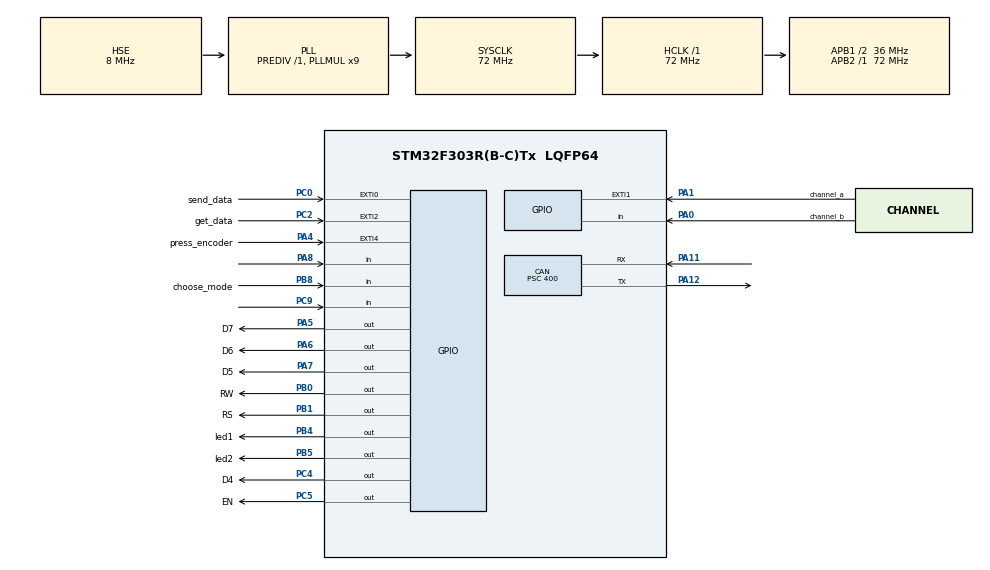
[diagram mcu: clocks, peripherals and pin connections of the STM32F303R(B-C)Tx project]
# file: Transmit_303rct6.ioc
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CAN.BS1=CAN_BS1_12TQ
CAN.BS2=CAN_BS2_5TQ
CAN.CalculateTimeQuantum=11111.111111111111
CAN.Prescaler=400
Mcu.Family=STM32F3
Mcu.Name=STM32F303R(B-C)Tx
Mcu.Package=LQFP64
NVIC.EXTI0_IRQn=true\:0\:0\:false\:false\:true\:true
NVIC.EXTI1_IRQn=true\:0\:0\:false\:false\:true\:true
NVIC.EXTI2_TSC_IRQn=true\:0\:0\:false\:false\:true\:true
NVIC.EXTI4_IRQn=true\:0\:0\:false\:false\:true\:true
NVIC.PriorityGroup=NVIC_PRIORITYGROUP_4
NVIC.TIM2_IRQn=true\:0\:0\:false\:false\:true\:true
NVIC.USB_LP_CAN_RX0_IRQn=true\:0\:0\:false\:false\:true\:true
PA0.GPIO_Label=channel_b
PA0.Signal=GPIO_Input
PA1.GPIO_Label=channel_a
PA1.GPIO_ModeDefaultEXTI=GPIO_MODE_IT_FALLING
PA1.Signal=GPXTI1
PA11.Mode=Master
PA11.Signal=CAN_RX
PA12.Mode=Master
PA12.Signal=CAN_TX
PA13.Mode=Serial_Wire
PA13.Signal=SYS_JTMS-SWDIO
PA14.Mode=Serial_Wire
PA14.Signal=SYS_JTCK-SWCLK
PA4.GPIO_Label=press_encoder
PA4.GPIO_PuPd=GPIO_PULLDOWN
PA4.Signal=GPXTI4
PA5.GPIO_Label=D7
PA5.Signal=GPIO_Output
PA6.GPIO_Label=D6
PA6.Signal=GPIO_Output
PA7.GPIO_Label=D5
PA7.Signal=GPIO_Output
PA8.GPIO_PuPd=GPIO_PULLUP
PA8.Signal=GPIO_Input
PB0.GPIO_Label=RW
PB0.Signal=GPIO_Output
PB1.GPIO_Label=RS
PB1.Signal=GPIO_Output
PB4.GPIO_Label=led1
PB4.GPIO_ModeDefaultOutputPP=GPIO_MODE_OUTPUT_PP
PB4.GPIO_PuPd=GPIO_NOPULL
PB4.GPIO_Speed=GPIO_SPEED_FREQ_LOW
PB4.PinState=GPIO_PIN_SET
PB4.Signal=GPIO_Output
PB5.GPIO_Label=led2
PB5.GPIO_ModeDefaultOutputPP=GPIO_MODE_OUTPUT_PP
PB5.GPIO_PuPd=GPIO_NOPULL
PB5.GPIO_Speed=GPIO_SPEED_FREQ_LOW
PB5.PinState=GPIO_PIN_SET
PB5.Signal=GPIO_Output
PB8.GPIO_Label=choose_mode
PB8.Signal=GPIO_Input
PC0.GPIO_Label=send_data
PC0.GPIO_ModeDefaultEXTI=GPIO_MODE_IT_FALLING
PC0.GPIO_PuPd=GPIO_NOPULL
PC0.Signal=GPXTI0
PC2.GPIO_Label=get_data
PC2.GPIO_ModeDefaultEXTI=GPIO_MODE_IT_FALLING
PC2.Signal=GPXTI2
PC4.GPIO_Label=D4
PC4.Signal=GPIO_Output
PC5.GPIO_Label=EN
PC5.Signal=GPIO_Output
PC9.GPIO_PuPd=GPIO_PULLUP
PC9.Signal=GPIO_Input
PF0-OSC_IN.Mode=HSE-External-Oscillator
PF0-OSC_IN.Signal=RCC_OSC_IN
PF1-OSC_OUT.Mode=HSE-External-Oscillator
PF1-OSC_OUT.Signal=RCC_OSC_OUT
ProjectManager.HeapSize=0x200
ProjectManager.StackSize=0x400
ProjectManager.TargetToolchain=MDK-ARM V5
RCC.AHBFreq_Value=72000000
RCC.APB1CLKDivider=RCC_HCLK_DIV2
RCC.APB1Freq_Value=36000000
RCC.APB1TimFreq_Value=72000000
RCC.APB2Freq_Value=72000000
RCC.APB2TimFreq_Value=72000000
RCC.CortexFreq_Value=72000000
RCC.HCLKFreq_Value=72000000
RCC.HSE_VALUE=8000000
RCC.HSI_VALUE=8000000
RCC.LSE_VALUE=32768
RCC.PLLMUL=RCC_PLL_MUL9
RCC.PLLSourceVirtual=RCC_PLLSOURCE_HSE
RCC.SYSCLKFreq_VALUE=72000000
RCC.SYSCLKSourceVirtual=RCC_SYSCLKSOURCE_PLLCLK
RCC.USBFreq_Value=72000000
TIM2.Period=2999
TIM2.Prescaler=7199
VP_TIM2_VS_ClockSourceINT.Mode=Internal
board=Transmit_303rct6

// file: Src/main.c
/**
  ******************************************************************************
  * @file           : main.c
  * @brief          : Main program body
  ******************************************************************************
  ** This notice applies to any and all portions of this file
  * that are not between comment pairs USER CODE BEGIN and
  * USER CODE END. Other portions of this file, whether
  * inserted by the user or by software development tools
  * are owned by their respective copyright owners.
  *
  * COPYRIGHT(c) 2019 STMicroelectronics
  *
  * Redistribution and use in source and binary forms, with or without modification,
  * are permitted provided that the following conditions are met:
  *   1. Redistributions of source code must retain the above copyright notice,
  *      this list of conditions and the following disclaimer.
  *   2. Redistributions in binary form must reproduce the above copyright notice,
  *      this list of conditions and the following disclaimer in the documentation
  *      and/or other materials provided with the distribution.
  *   3. Neither the name of STMicroelectronics nor the names of its contributors
  *      may be used to endorse or promote products derived from this software
  *      without specific prior written permission.
  *
  * THIS SOFTWARE IS PROVIDED BY THE COPYRIGHT HOLDERS AND CONTRIBUTORS "AS IS"
  * AND ANY EXPRESS OR IMPLIED WARRANTIES, INCLUDING, BUT NOT LIMITED TO, THE
  * IMPLIED WARRANTIES OF MERCHANTABILITY AND FITNESS FOR A PARTICULAR PURPOSE ARE
  * DISCLAIMED. IN NO EVENT SHALL THE COPYRIGHT HOLDER OR CONTRIBUTORS BE LIABLE
  * FOR ANY DIRECT, INDIRECT, INCIDENTAL, SPECIAL, EXEMPLARY, OR CONSEQUENTIAL
  * DAMAGES (INCLUDING, BUT NOT LIMITED TO, PROCUREMENT OF SUBSTITUTE GOODS OR
  * SERVICES; LOSS OF USE, DATA, OR PROFITS; OR BUSINESS INTERRUPTION) HOWEVER
  * CAUSED AND ON ANY THEORY OF LIABILITY, WHETHER IN CONTRACT, STRICT LIABILITY,
  * OR TORT (INCLUDING NEGLIGENCE OR OTHERWISE) ARISING IN ANY WAY OUT OF THE USE
  * OF THIS SOFTWARE, EVEN IF ADVISED OF THE POSSIBILITY OF SUCH DAMAGE.
  *
  ******************************************************************************
  */
#include "main.h"
#include "stm32f3xx_hal.h"

/* USER CODE BEGIN Includes */
#include "variable.h"
#include "lcd.h"

/* USER CODE END Includes */

CAN_HandleTypeDef hcan;

TIM_HandleTypeDef htim2;

/* USER CODE BEGIN PV */
/* Private variables ---------------------------------------------------------*/

Lcd_PortType ports[] = {D4_GPIO_Port, D5_GPIO_Port, D6_GPIO_Port, D7_GPIO_Port};
Lcd_PinType pins[] = {D4_Pin, D5_Pin, D6_Pin, D7_Pin};
Lcd_HandleTypeDef lcd;

volatile uint8_t can_rx_int1 = 0;
volatile uint8_t can_rx_int2 = 0;
volatile uint8_t can_rx_int3 = 0;
volatile uint8_t can_rx_int4 = 0;

/* USER CODE END PV */

void SystemClock_Config(void);
static void MX_GPIO_Init(void);
static void MX_CAN_Init(void);
static void MX_TIM2_Init(void);

/* USER CODE BEGIN PFP */
/* Private function prototypes -----------------------------------------------*/

/* USER CODE END PFP */

/* USER CODE BEGIN 0 */

void CAN_FilterConfig()
{
	sFilterCongif.BankNumber = 14;
	sFilterCongif.FilterActivation = ENABLE;
	sFilterCongif.FilterFIFOAssignment = CAN_FILTER_FIFO0;
	sFilterCongif.FilterIdHigh = 0;
	sFilterCongif.FilterIdLow = 0;
	sFilterCongif.FilterMaskIdHigh = 0;
	sFilterCongif.FilterMaskIdLow = 0;
	sFilterCongif.FilterMode = CAN_FILTERMODE_IDMASK;
	sFilterCongif.FilterNumber = 0;
	sFilterCongif.FilterScale = CAN_FILTERSCALE_32BIT;
	if(HAL_CAN_ConfigFilter(&hcan,&sFilterCongif) != HAL_OK)
	{
		Error_Handler();
	}
}

void Lcd_goto(uint8_t x,uint8_t y)
{
	Lcd_cursor(&lcd,x,y);
}
void Lcd_write_int(int i)
{
	Lcd_int(&lcd,i);
}

void Lcd_write_string(char * string)
{
	Lcd_string(&lcd,string);
}

void Blink_value()
{
	if (timer_int)
		Lcd_write_int( rotary_value);
  else
		Lcd_write_string(" ");
}

void lcd_form_init(void)
{
  Lcd_goto(1, 1);
  Lcd_write_string( "---CONTROLLER BOX---");
  Lcd_goto( 2, 2);
  Lcd_write_string( "Pattern:");
}
void lcd_show_pattern_a(void)
{
  Lcd_goto(2,12);
  Lcd_write_string(" n1=");
	Lcd_write_int(n1_chuc_pa);
	Lcd_write_int(n1_donvi_pa);

  Lcd_goto(3,1);
  Lcd_write_string(" n2=");
	Lcd_write_int(n2_chuc_pa);
	Lcd_write_int(n2_donvi_pa);

	Lcd_goto(3,12);
	Lcd_write_string(" B =");
	Lcd_write_int(B_nghin);
	Lcd_write_int(B_tram);
	Lcd_write_int(B_chuc);
	Lcd_write_int(B_donvi);

  Lcd_goto(4,1);
  Lcd_write_string(" C =");
	Lcd_write_int(C_nghin);
	Lcd_write_int(C_tram);
	Lcd_write_int(C_chuc);
	Lcd_write_int(C_donvi);

	Lcd_goto(4,12);
	Lcd_write_string(" D =");
	Lcd_write_int(D_nghin);
	Lcd_write_int(D_tram);
	Lcd_write_int(D_chuc);
	Lcd_write_int(D_donvi);
}
void lcd_show_form1_pattern_b(void)
{
  Lcd_goto(2,12);
	Lcd_write_string(" n1=");
	Lcd_write_int(n1_chuc_pb);
	Lcd_write_int(n1_donvi_pb);

	Lcd_goto(3,1);
	Lcd_write_string(" n2=");
	Lcd_write_int(n2_chuc_pb);
	Lcd_write_int(n2_donvi_pb);
	Lcd_write_string("  ");

	Lcd_goto(3,12);
	Lcd_write_string(" B1=");
	Lcd_write_int(B1_nghin);
	Lcd_write_int(B1_tram);
	Lcd_write_int(B1_chuc);
	Lcd_write_int(B1_donvi);
	Lcd_write_string(" ");

  Lcd_goto(4,1);
  Lcd_write_string(" C1=");
	Lcd_write_int(C1_nghin);
	Lcd_write_int(C1_tram);
	Lcd_write_int(C1_chuc);
	Lcd_write_int(C1_donvi);

	Lcd_goto(4,12);
	Lcd_write_string(" B2=");
	Lcd_write_int(B2_nghin);
	Lcd_write_int(B2_tram);
	Lcd_write_int(B2_chuc);
	Lcd_write_int(B2_donvi);
}
void lcd_show_form2_pattern_b(void)
{
  Lcd_goto(2,12);
  Lcd_write_string("      ");

  Lcd_goto(3,1);
	Lcd_write_string(" D1=");
	Lcd_write_int(D1_nghin);
	Lcd_write_int(D1_tram);
	Lcd_write_int(D1_chuc);
	Lcd_write_int(D1_donvi);

	Lcd_goto(3,13);
	Lcd_write_string("E =");
	Lcd_write_int(E_chucnghin);
	Lcd_write_int(E_nghin);
	Lcd_write_int(E_tram);
	Lcd_write_int(E_chuc);
	Lcd_write_int(E_donvi);

	Lcd_goto(4,1);
	Lcd_write_string(" D2=");
	Lcd_write_int(D2_nghin);
	Lcd_write_int(D2_tram);
	Lcd_write_int(D2_chuc);
	Lcd_write_int(D2_donvi);

	Lcd_goto(4,12);
	Lcd_write_string(" C2=");
	Lcd_write_int(C2_nghin);
	Lcd_write_int(C2_tram);
	Lcd_write_int(C2_chuc);
	Lcd_write_int(C2_donvi);
}

void enable_send()
{
	__HAL_GPIO_EXTI_CLEAR_IT(send_data_Pin);
	HAL_NVIC_EnableIRQ(send_data_EXTI_IRQn);
}
void disable_send()
{
	HAL_NVIC_DisableIRQ(send_data_EXTI_IRQn);
}

void RxIntEnable(CAN_HandleTypeDef *CanHandle)
{
	if(CanHandle->State == HAL_CAN_STATE_BUSY_TX)
	  CanHandle->State = HAL_CAN_STATE_BUSY_TX_RX0;
	else
	{
	  CanHandle->State = HAL_CAN_STATE_BUSY_RX0;

		/* Set CAN error code to none */
		CanHandle->ErrorCode = HAL_CAN_ERROR_NONE;

		/* Enable Error warning Interrupt */
		__HAL_CAN_ENABLE_IT(CanHandle, CAN_IT_EWG);

		/* Enable Error passive Interrupt */
		__HAL_CAN_ENABLE_IT(CanHandle, CAN_IT_EPV);

		/* Enable Bus-off Interrupt */
		__HAL_CAN_ENABLE_IT(CanHandle, CAN_IT_BOF);

		/* Enable Last error code Interrupt */
		__HAL_CAN_ENABLE_IT(CanHandle, CAN_IT_LEC);

		/* Enable Error Interrupt */
		__HAL_CAN_ENABLE_IT(CanHandle, CAN_IT_ERR);
	}

	// Enable FIFO 0 message pending Interrupt
	__HAL_CAN_ENABLE_IT(CanHandle, CAN_IT_FMP0);
}

void HAL_CAN_RxCpltCallback(CAN_HandleTypeDef* CanHandle)
{
	point_lcd_value = 255;
	if (CanHandle->pRxMsg->StdId == 0x201)
  {
    can_rx_int1 = 1;
    n1_pa = CanHandle->pRxMsg->Data[0];
    n2_pa = CanHandle->pRxMsg->Data[1];
    B_H = CanHandle->pRxMsg->Data[2];
    B_L = CanHandle->pRxMsg->Data[3];
    C_H = CanHandle->pRxMsg->Data[4];
    C_L = CanHandle->pRxMsg->Data[5];
    D_H = CanHandle->pRxMsg->Data[6];
    D_L = CanHandle->pRxMsg->Data[7];
  }
  if (CanHandle->pRxMsg->StdId == 0x202)
  {
    can_rx_int2 = 1;
		n1_pb = CanHandle->pRxMsg->Data[0];
    n2_pb = CanHandle->pRxMsg->Data[1];
    B1_H = CanHandle->pRxMsg->Data[2];
    B1_L = CanHandle->pRxMsg->Data[3];
    C1_H = CanHandle->pRxMsg->Data[4];
    C1_L = CanHandle->pRxMsg->Data[5];
    B2_H = CanHandle->pRxMsg->Data[6];
    B2_L = CanHandle->pRxMsg->Data[7];
  }
  if (CanHandle->pRxMsg->StdId == 0x203)
  {
    can_rx_int3 = 1;
    D1_H = CanHandle->pRxMsg->Data[0];
    D1_L = CanHandle->pRxMsg->Data[1];
    E_HH = CanHandle->pRxMsg->Data[2];
    E_H = CanHandle->pRxMsg->Data[3];
    E_L = CanHandle->pRxMsg->Data[4];
  }
  if (CanHandle->pRxMsg->StdId == 0x204)
  {
    can_rx_int4 = 1;
    D2_H = CanHandle->pRxMsg->Data[0];
    D2_L = CanHandle->pRxMsg->Data[1];
    C2_H = CanHandle->pRxMsg->Data[2];
    C2_L = CanHandle->pRxMsg->Data[3];
  }
	RxIntEnable(&hcan);
}

//-----------------------------------------------------------------------------------------------External interrupt
void HAL_GPIO_EXTI_Callback(uint16_t GPIO_Pin)
{
	if(GPIO_Pin == press_encoder_Pin)
	{
		static uint8_t start = 0;
		if(start == 0)
		{
			if (HAL_GPIO_ReadPin(choose_mode_GPIO_Port, choose_mode_Pin) == GPIO_PIN_SET)
				flag_choose_mode = pattern_a;
			else
				flag_choose_mode = pattern_b;
		}
		start = 1;

		point_lcd_value++;

		if(flag_choose_mode == pattern_a)
		{
			if(point_lcd_value == n1_position) 				{D_donvi = rotary_value;enable_send();}
			if(point_lcd_value == n1_chuc_position)		disable_send();
			if(point_lcd_value == n1_donvi_position) 	n1_chuc_pa = rotary_value;
			if(point_lcd_value == n2_position) 				{n1_donvi_pa = rotary_value;enable_send();}
			if(point_lcd_value == n2_chuc_position)		disable_send();
			if(point_lcd_value == n2_donvi_position) 	n2_chuc_pa = rotary_value;
			if(point_lcd_value == B_position) 				{n2_donvi_pa = rotary_value;enable_send();}
			if(point_lcd_value == B_nghin_position)		disable_send();
			if(point_lcd_value == B_tram_position) 		B_nghin = rotary_value;
			if(point_lcd_value == B_chuc_position) 		B_tram = rotary_value;
			if(point_lcd_value == B_donvi_position) 	B_chuc = rotary_value;
			if(point_lcd_value == C_position) 				{B_donvi = rotary_value;enable_send();}
			if(point_lcd_value == C_nghin_position)		disable_send();
			if(point_lcd_value == C_tram_position) 		C_nghin = rotary_value;
			if(point_lcd_value == C_chuc_position) 		C_tram = rotary_value;
			if(point_lcd_value == C_donvi_position) 	C_chuc = rotary_value;
			if(point_lcd_value == D_position) 				{C_donvi = rotary_value;enable_send();}
			if(point_lcd_value == D_nghin_position)		disable_send();
			if(point_lcd_value == D_tram_position) 		D_nghin = rotary_value;
			if(point_lcd_value == D_chuc_position) 		D_tram = rotary_value;
			if(point_lcd_value == D_donvi_position) 	D_chuc = rotary_value;
			if(point_lcd_value == Finish_input_pattern_a_position)
			{
				point_lcd_value = n1_position;
				D_donvi = rotary_value;
				enable_send();
			}
			rotary_value = 0;
		}

		if(flag_choose_mode == pattern_b)
		{
			if(point_lcd_value == n1_position) 				{C2_donvi = rotary_value;enable_send();}
			if(point_lcd_value == n1_chuc_position)		disable_send();
			if(point_lcd_value == n1_donvi_position) 	n1_chuc_pb = rotary_value;
			if(point_lcd_value == n2_position) 				{n1_donvi_pb = rotary_value;enable_send();}
			if(point_lcd_value == n2_chuc_position) 	disable_send();
			if(point_lcd_value == n2_donvi_position) 	n2_chuc_pb = rotary_value;
			if(point_lcd_value == B1_position) 				{n2_donvi_pb = rotary_value;enable_send();}
			if(point_lcd_value == B1_nghin_position)	disable_send();
			if(point_lcd_value == B1_tram_position) 	B1_nghin = rotary_value;
			if(point_lcd_value == B1_chuc_position) 	B1_tram = rotary_value;
			if(point_lcd_value == B1_donvi_position) 	B1_chuc = rotary_value;
			if(point_lcd_value == C1_position) 				{B1_donvi = rotary_value;enable_send();}
			if(point_lcd_value == C1_nghin_position)	disable_send();
			if(point_lcd_value == C1_tram_position) 	C1_nghin = rotary_value;
			if(point_lcd_value == C1_chuc_position) 	C1_tram = rotary_value;
			if(point_lcd_value == C1_donvi_position) 	C1_chuc = rotary_value;
			if(point_lcd_value == B2_position) 				{C1_donvi = rotary_value;enable_send();}
			if(point_lcd_value == B2_nghin_position)	disable_send();
			if(point_lcd_value == B2_tram_position) 	B2_nghin = rotary_value;
			if(point_lcd_value == B2_chuc_position) 	B2_tram = rotary_value;
			if(point_lcd_value == B2_donvi_position) 	B2_chuc = rotary_value;
			if(point_lcd_value == D1_position)				{B2_donvi = rotary_value;enable_send();}
			if(point_lcd_value == D1_tram_position)		D1_nghin = rotary_value;
			if(point_lcd_value == D1_chuc_position)		D1_tram = rotary_value;
			if(point_lcd_value == D1_donvi_position)	D1_chuc = rotary_value;
			if(point_lcd_value == E_position)					{D1_donvi = rotary_value;enable_send();}
			if(point_lcd_value == E_chucnghin_position)	disable_send();
			if(point_lcd_value == E_nghin_position)		E_chucnghin = rotary_value;
			if(point_lcd_value == E_tram_position)		E_nghin = rotary_value;
			if(point_lcd_value == E_chuc_position)		E_tram = rotary_value;
			if(point_lcd_value == E_donvi_position)		E_chuc = rotary_value;
			if(point_lcd_value == D2_position)				{E_donvi = rotary_value;enable_send();}
			if(point_lcd_value == D2_nghin_position)	disable_send();
			if(point_lcd_value == D2_tram_position)		D2_nghin = rotary_value;
			if(point_lcd_value == D2_chuc_position)		D2_tram = rotary_value;
			if(point_lcd_value == D2_donvi_position)	D2_chuc = rotary_value;
			if(point_lcd_value == C2_position)				{D2_donvi = rotary_value;enable_send();}
			if(point_lcd_value == C2_nghin_position)	disable_send();
			if(point_lcd_value == C2_tram_position)		C2_nghin = rotary_value;
			if(point_lcd_value == C2_chuc_position)		C2_tram = rotary_value;
			if(point_lcd_value == C2_donvi_position)	C2_chuc = rotary_value;
			if(point_lcd_value == Finish_input_pattern_b_position)
			{
				enable_send();
				point_lcd_value = n1_position;
				C2_donvi = rotary_value;
			}
			rotary_value = 0;
		}
	}

  if (GPIO_Pin == channel_a_Pin)
  {
		if(flag_choose_mode == pattern_a)
		{
			if(point_lcd_value == n1_position ||	point_lcd_value == n2_position || point_lcd_value ==  B_position || point_lcd_value == C_position || point_lcd_value == D_position)
			{
				if (HAL_GPIO_ReadPin(channel_b_GPIO_Port, channel_b_Pin) == 1)	designator_position++;
				else	designator_position--;

				if(designator_position == 0)	designator_position = 5;
				if(designator_position == 6) 	designator_position = 1;

				if(designator_position == 1)	point_lcd_value = n1_position;
				if(designator_position == 2)	point_lcd_value = n2_position;
				if(designator_position == 3)	point_lcd_value = B_position;
				if(designator_position == 4)	point_lcd_value = C_position;
				if(designator_position == 5)	point_lcd_value = D_position;
			}
			else
			{
				if(point_lcd_value != not_yet_press_encoder_position)
				{
					if (HAL_GPIO_ReadPin(channel_b_GPIO_Port, channel_b_Pin) == 1)	rotary_value++;
					else	rotary_value--;

					if (rotary_value == 255)	rotary_value = 9;
					if (rotary_value == 10)		rotary_value = 0;
				}
			}
		}

		if(flag_choose_mode == pattern_b)
		{
			if(point_lcd_value == n1_position ||	point_lcd_value == n2_position || point_lcd_value ==  B1_position || point_lcd_value == C1_position || point_lcd_value == B2_position ||
			point_lcd_value == D1_position || point_lcd_value == E_position || point_lcd_value == D2_position || point_lcd_value == C2_position)
			{
				if (HAL_GPIO_ReadPin(channel_b_GPIO_Port, channel_b_Pin) == 1)
				{
					designator_position++;
					if(designator_position == 6)	flag_B2_to_D1 = 1;
					if(designator_position == 10) flag_C2_to_n1 = 1;
				}
				else
				{
					designator_position--;
					if(designator_position == 5) flag_D1_to_B2 = 1;
					if(designator_position == 0) flag_n1_to_C2 = 1;
				}

				if(designator_position == 0)	designator_position = 9;
				if(designator_position == 10) designator_position = 1;

				if(designator_position == 1)	point_lcd_value = n1_position;
				if(designator_position == 2)	point_lcd_value = n2_position;
				if(designator_position == 3)	point_lcd_value = B1_position;
				if(designator_position == 4)	point_lcd_value = C1_position;
				if(designator_position == 5)	point_lcd_value = B2_position;

				if(designator_position == 6)	point_lcd_value = D1_position;
				if(designator_position == 7)	point_lcd_value = E_position;
				if(designator_position == 8)	point_lcd_value = D2_position;
				if(designator_position == 9)	point_lcd_value = C2_position;
			}
			else
			{
				if(point_lcd_value != not_yet_press_encoder_position)
				{
					if (HAL_GPIO_ReadPin(channel_b_GPIO_Port, channel_b_Pin) == 1)	rotary_value++;
					else	rotary_value--;

					if (rotary_value == 255)	rotary_value = 9;
					if (rotary_value == 10)		rotary_value = 0;
				}
			}
		}
  }

	if (GPIO_Pin == send_data_Pin)
  {
		can_tx_int = 1;
  }

	if(GPIO_Pin == get_data_Pin)
	{
		flag_get_data = 1;
	}
}

/* USER CODE END 0 */

int main(void)
{

  /* MCU Configuration----------------------------------------------------------*/

  /* Reset of all peripherals, Initializes the Flash interface and the Systick. */
  HAL_Init();

  /* Configure the system clock */
  SystemClock_Config();

  /* Initialize all configured peripherals */
  MX_GPIO_Init();
  MX_CAN_Init();
  MX_TIM2_Init();
  /* USER CODE BEGIN 2 */

  HAL_TIM_Base_Start_IT(&htim2);

  hcan.pTxMsg = &CanTx;
  CanTx.RTR = CAN_RTR_DATA;
  CanTx.IDE = CAN_ID_STD;

	hcan.pRxMsg = &CanRx;
	CAN_FilterConfig();
	HAL_CAN_Receive_IT(&hcan,CAN_FIFO0);

  lcd = Lcd_create(ports, pins, RS_GPIO_Port, RS_Pin, EN_GPIO_Port, EN_Pin, LCD_4_BIT_MODE);
  Lcd_clear(&lcd);
  lcd_form_init();

	HAL_NVIC_DisableIRQ(send_data_EXTI_IRQn);

  /* USER CODE END 2 */

  /* Infinite loop */
  /* USER CODE BEGIN WHILE */
  while (1)
  {
		//Khi chua an gi
		if (point_lcd_value == not_yet_press_encoder_position)
    {
      if(HAL_GPIO_ReadPin(choose_mode_GPIO_Port, choose_mode_Pin))
      {
				lcd_show_pattern_a();
				Lcd_goto(2, 10);
				Lcd_write_string("A");
      }
      else
      {
        lcd_show_form1_pattern_b();
				Lcd_goto(2,10);
				Lcd_write_string("B");
      }
    }

		//choose pattern
		if(point_lcd_value == n1_position)
		{
			designator_position = 1;

			Lcd_cursor(&lcd, 2, 10);
      if (flag_choose_mode == pattern_a)
      {
        Lcd_write_string("A");
      }
      else
      {
        Lcd_write_string("B");
      }
		}

		//-----------------------------------------------------------------------------------------pattern a
		if(point_lcd_value != not_yet_press_encoder_position && flag_choose_mode == pattern_a)
		{

			//---------------------------------------------------n1_position
			if(point_lcd_value == n1_position)
			{
				designator_position = 1;

				//write D_donvi
				Lcd_goto_D_donvi;
				Lcd_write_int(D_donvi);

				//delete con tro D
				Lcd_gotoContro_D;
				Lcd_write_string(" ");

				//delete con tro n2
				Lcd_gotoContro_n2;
				Lcd_write_string(" ");

				//dua con tro den n1
				Lcd_gotoContro_n1;
				Lcd_write_string(">");
			}
			//---------------------------------------------------n1_chuc_position
			if(point_lcd_value == n1_chuc_position)
			{
				//blink n1_chuc
				rotary_value = n1_chuc_pa;
				while(point_lcd_value == n1_chuc_position)
				{
					Lcd_goto_n1_chuc;
					Blink_value();
				}
			}
			//---------------------------------------------------n1_donvi_position
			if(point_lcd_value == n1_donvi_position)
			{
				//write n1_chuc
				Lcd_goto_n1_chuc;
				Lcd_write_int(n1_chuc_pa);

				//blink n1_donvi
				rotary_value = n1_donvi_pa;
				while(point_lcd_value == n1_donvi_position)
				{
					Lcd_goto_n1_donvi;
					Blink_value();
				}
			}
			//---------------------------------------------------n2_position
			if(point_lcd_value == n2_position)
			{
				designator_position = 2;

				//write n1_donvi
				Lcd_goto_n1_donvi;
				Lcd_write_int(n1_donvi_pa);

				//delete con tro n1
				Lcd_gotoContro_n1;
				Lcd_write_string(" ");

				//delete con tro B
				Lcd_gotoContro_B;
				Lcd_write_string(" ");

				//dua con tro den n2
				Lcd_gotoContro_n2;
				Lcd_write_string(">");
			}
			//---------------------------------------------------n2_chuc_position
			if(point_lcd_value == n2_chuc_position)
			{
				//blink n2_chuc
				rotary_value = n2_chuc_pa;
				while(point_lcd_value == n2_chuc_position)
				{
					Lcd_goto_n2_chuc;
					Blink_value();
				}
			}
			//---------------------------------------------------n2_donvi_position
			if(point_lcd_value == n2_donvi_position)
			{
				//write n2_chuc
				Lcd_goto_n2_chuc;
				Lcd_write_int(n2_chuc_pa);

				//blinkn2_donvi
				rotary_value = n2_donvi_pa;
				while(point_lcd_value == n2_donvi_position)
				{
					Lcd_goto_n2_donvi;
					Blink_value();
				}
			}
			//---------------------------------------------------B_position
			if(point_lcd_value == B_position)
			{
				designator_position = 3;

				//write n2_donvi
				Lcd_goto_n2_donvi;
				Lcd_write_int(n2_donvi_pa);

				//delete con tro n2
				Lcd_gotoContro_n2;
				Lcd_write_string(" ");

				//delete con tro C
				Lcd_gotoContro_C;
				Lcd_write_string(" ");

				//dua con tro den B
				Lcd_gotoContro_B;
				Lcd_write_string(">");
			}
			//---------------------------------------------------B_nghin_position
			if(point_lcd_value == B_nghin_position)
			{
				//blink B_nghin
				rotary_value = B_nghin;
				while(point_lcd_value == B_nghin_position)
				{
					Lcd_goto_B_nghin;
					Blink_value();
				}
			}
			//---------------------------------------------------B_tram_position
			if(point_lcd_value == B_tram_position)
			{
				//write B_nghin
				Lcd_goto_B_nghin;
				Lcd_write_int(B_nghin);

				//blink B_tram
				rotary_value = B_tram;
				while(point_lcd_value == B_tram_position)
				{
					Lcd_goto_B_tram;
					Blink_value();
				}
			}
			//---------------------------------------------------B_chuc_position
			if(point_lcd_value == B_chuc_position)
			{
				//write B_tram
				Lcd_goto_B_tram;
				Lcd_write_int(B_tram);

				//blink B_chuc
				rotary_value = B_chuc;
				while(point_lcd_value == B_chuc_position)
				{
					Lcd_goto_B_chuc;
					Blink_value();
				}
			}
			//---------------------------------------------------B_donvi_position
			if(point_lcd_value == B_donvi_position)
			{
				//write B_chuc
				Lcd_goto_B_chuc;
				Lcd_write_int(B_chuc);

				//blink B_donvi
				rotary_value = B_donvi;
				while(point_lcd_value == B_donvi_position)
				{
					Lcd_goto_B_donvi;
					Blink_value();
				}
			}
			//---------------------------------------------------C_position
			if(point_lcd_value == C_position)
			{
				designator_position = 4;

				//write B_donvi
				Lcd_goto_B_donvi;
				Lcd_write_int(B_donvi);

				//delete con tro B
				Lcd_gotoContro_B;
				Lcd_write_string(" ");

				//delete con tro D
				Lcd_gotoContro_D;
				Lcd_write_string(" ");

				//dua con tro den C
				Lcd_gotoContro_C;
				Lcd_write_string(">");
			}
			//---------------------------------------------------C_nghin_position
			if(point_lcd_value == C_nghin_position)
			{
				//blink C_nghin
				rotary_value = C_nghin;
				while(point_lcd_value == C_nghin_position)
				{
					Lcd_goto_C_nghin;
					Blink_value();
				}
			}
			//---------------------------------------------------C_tram_position
			if(point_lcd_value == C_tram_position)
			{
				//write C_nghin
				Lcd_goto_C_nghin;
				Lcd_write_int(C_nghin);

				//blink C_tram
				rotary_value = C_tram;
				while(point_lcd_value == C_tram_position)
				{
					Lcd_goto_C_tram;
					Blink_value();
				}
			}
			//---------------------------------------------------C_chuc_position
			if(point_lcd_value == C_chuc_position)
			{
				//write C_tram
				Lcd_goto_C_tram;
				Lcd_write_int(C_tram);

				//blink C_chuc
				rotary_value = C_chuc;
				while(point_lcd_value == C_chuc_position)
				{
					Lcd_goto_C_chuc;
					Blink_value();
				}
			}
			//---------------------------------------------------C_donvi_position
			if(point_lcd_value == C_donvi_position)
			{
				//write C_chuc
				Lcd_goto_C_chuc;
				Lcd_write_int(C_chuc);

				//blink C_donvi
				rotary_value = C_donvi;
				while(point_lcd_value == C_donvi_position)
				{
					Lcd_goto_C_donvi;
					Blink_value();
				}
			}
			//---------------------------------------------------D_position
			if(point_lcd_value == D_position)
			{
				designator_position = 5;

				//write C_donvi
				Lcd_goto_C_donvi;
				Lcd_write_int(C_donvi);

				//delete contro C
				Lcd_gotoContro_C;
				Lcd_write_string(" ");

				//delete con tro n1
				Lcd_gotoContro_n1;
				Lcd_write_string(" ");

				//dua con tro den D
				Lcd_gotoContro_D;
				Lcd_write_string(">");
			}
			//---------------------------------------------------D_nghin_position
			if(point_lcd_value == D_nghin_position)
			{
				//blink D_nghin
				rotary_value = D_nghin;
				while(point_lcd_value == D_nghin_position)
				{
					Lcd_goto_D_nghin;
					Blink_value();
				}

			}
			//---------------------------------------------------D_tram_position
			if(point_lcd_value == D_tram_position)
			{
				//write D_nghin
				Lcd_goto_D_nghin;
				Lcd_write_int(D_nghin);

				//blink D_tram
				rotary_value = D_tram;
				while(point_lcd_value == D_tram_position)
				{
					Lcd_goto_D_tram;
					Blink_value();
				}

			}
			//---------------------------------------------------D_chuc_position
			if(point_lcd_value == D_chuc_position)
			{
				//write D_tram
				Lcd_goto_D_tram;
				Lcd_write_int(D_tram);

				//blink D_chuc
				rotary_value = D_chuc;
				while(point_lcd_value == D_chuc_position)
				{
					Lcd_goto_D_chuc;
					Blink_value();
				}

			}
			//---------------------------------------------------D_donvi_position
			if(point_lcd_value == D_donvi_position)
			{
				//write D_chuc
				Lcd_goto_D_chuc;
				Lcd_write_int(D_chuc);

				//blink D_donvi
				rotary_value = D_donvi;
				while(point_lcd_value == D_donvi_position)
				{
					Lcd_goto_D_donvi;
					Blink_value();
				}

			}
		}

		//-----------------------------------------------------------------------------------------pattern b
		if(point_lcd_value != not_yet_press_encoder_position && flag_choose_mode == pattern_b)
		{

			//---------------------------------------------------n1_position
			if(point_lcd_value == n1_position)
			{
				if(flag_C2_to_n1 == 1||flag_C2_to_n1_press == 1)
				{
					flag_C2_to_n1 = 0;
					flag_C2_to_n1_press = 0;
					lcd_show_form1_pattern_b();
				}

				//delete con tro n2
				Lcd_gotoContro_n2;
				Lcd_write_string(" ");

				//dua con tro den n1
				Lcd_gotoContro_n1;
				Lcd_write_string(">");

				designator_position = 1;
			}
			//---------------------------------------------------n1_chuc_position
			if(point_lcd_value == n1_chuc_position)
			{
				//blink n1_chuc
				rotary_value = n1_chuc_pb;
				while(point_lcd_value == n1_chuc_position)
				{
					Lcd_goto_n1_chuc;
					Blink_value();
				}

			}
			//---------------------------------------------------n1_donvi_position
			if(point_lcd_value == n1_donvi_position)
			{
				//write n1_chuc
				Lcd_goto_n1_chuc;
				Lcd_write_int(n1_chuc_pb);

				//blink n1_donvi
				rotary_value =  n1_donvi_pb;
				while(point_lcd_value == n1_donvi_position)
				{
					Lcd_goto_n1_donvi;
					Blink_value();
				}

			}
			//---------------------------------------------------n2_position
			if(point_lcd_value == n2_position)
			{
				//write n1_donvi
				Lcd_goto_n1_donvi;
				Lcd_write_int(n1_donvi_pb);

				//delete con tro n1
				Lcd_gotoContro_n1;
				Lcd_write_string(" ");

				//delete con tro B
				Lcd_gotoContro_B;
				Lcd_write_string(" ");

				//dua con tro den n2
				Lcd_gotoContro_n2;
				Lcd_write_string(">");

				designator_position = 2;
			}
			//---------------------------------------------------n2_chuc_position
			if(point_lcd_value == n2_chuc_position)
			{
				//blink n2_chuc
				rotary_value = n2_chuc_pb;
				while(point_lcd_value == n2_chuc_position)
				{
					Lcd_goto_n2_chuc;
					Blink_value();
				}

			}
			//---------------------------------------------------n2_donvi_position
			if(point_lcd_value == n2_donvi_position)
			{
				//write n2_chuc
				Lcd_goto_n2_chuc;
				Lcd_write_int(n2_chuc_pb);

				//blink n2_donvi
				rotary_value = n2_donvi_pb;
				while(point_lcd_value == n2_donvi_position)
				{
					Lcd_goto_n2_donvi;
					Blink_value();
				}

			}
			//---------------------------------------------------B1_position
			if(point_lcd_value == B1_position)
			{
				//write n2_donvi
				Lcd_goto_n2_donvi;
				Lcd_write_int(n2_donvi_pb);

				//delete con tro n2
				Lcd_gotoContro_n2;
				Lcd_write_string(" ");

				//delete con tro C1
				Lcd_gotoContro_C1;
				Lcd_write_string(" ");

				//dua con tro den B1
				Lcd_gotoContro_B1;
				Lcd_write_string(">");

				designator_position = 3;
			}
			//---------------------------------------------------B1_nghin_position
			if(point_lcd_value == B1_nghin_position)
			{
				//blink B1_nghin
				rotary_value = B1_nghin;
				while(point_lcd_value == B1_nghin_position)
				{
					Lcd_goto_B1_nghin;
					Blink_value();
				}
			}
			//---------------------------------------------------B1_tram_position
			if(point_lcd_value == B1_tram_position)
			{
				//write B1_nghin
				Lcd_goto_B1_nghin;
				Lcd_write_int(B1_nghin);

				//blink B1_tram
				rotary_value = B1_tram;
				while(point_lcd_value == B1_tram_position)
				{
					Lcd_goto_B1_tram;
					Blink_value();
				}

			}
			//---------------------------------------------------B1_chuc_position
			if(point_lcd_value == B1_chuc_position)
			{
				//write B1_tram
				Lcd_goto_B1_tram;
				Lcd_write_int(B1_tram);

				//blink B1_chuc
				rotary_value = B1_chuc;
				while(point_lcd_value == B1_chuc_position)
				{
					Lcd_goto_B1_chuc;
					Blink_value();
				}

			}
			//---------------------------------------------------B1_donvi_position
			if(point_lcd_value == B1_donvi_position)
			{
				//write B1_chuc
				Lcd_goto_B1_chuc;
				Lcd_write_int(B1_chuc);

				//blink B1_donvi
				rotary_value = B1_donvi;
				while(point_lcd_value == B1_donvi_position)
				{
					Lcd_goto_B1_donvi;
					Blink_value();
				}

			}
			//---------------------------------------------------C1_position
			if(point_lcd_value == C1_position)
			{
				//write B1_donvi
				Lcd_goto_B1_donvi;
				Lcd_write_int(B1_donvi);

				//delete con tro B1
				Lcd_gotoContro_B1;
				Lcd_write_string(" ");

				//delete con tro B2
				Lcd_gotoContro_B2;
				Lcd_write_string(" ");

				//dua con tro den C1
				Lcd_gotoContro_C1;
				Lcd_write_string(">");

				designator_position = 4;
			}
			//---------------------------------------------------C1_nghin_position
			if(point_lcd_value == C1_nghin_position)
			{
				//blink C1_nghin
				rotary_value = C1_nghin;
				while(point_lcd_value == C1_nghin_position)
				{
					Lcd_goto_C1_nghin;
					Blink_value();
				}
			}
			//---------------------------------------------------C1_tram_position
			if(point_lcd_value == C1_tram_position)
			{
				//write C1_nghin
				Lcd_goto_C1_nghin;
				Lcd_write_int(C1_nghin);

				//blink C1_tram
				rotary_value = C1_tram;
				while(point_lcd_value == C1_tram_position)
				{
					Lcd_goto_C1_tram;
					Blink_value();
				}
			}
			//---------------------------------------------------C1_chuc_position
			if(point_lcd_value == C1_chuc_position)
			{
				//write C1_tram
				Lcd_goto_C1_tram;
				Lcd_write_int(C1_tram);

				//blink C1_chuc
				rotary_value = C1_chuc;
				while(point_lcd_value == C1_chuc_position)
				{
					Lcd_goto_C1_chuc;
					Blink_value();
				}

			}
			//---------------------------------------------------C1_donvi_position
			if(point_lcd_value == C1_donvi_position)
			{
				//write C1_chuc
				Lcd_goto_C1_chuc;
				Lcd_write_int(C1_chuc);

				//blink C1_donvi
				rotary_value = C1_donvi;
				while(point_lcd_value == C1_donvi_position)
				{
					Lcd_goto_C1_donvi;
					Blink_value();
				}
			}
			//---------------------------------------------------B2_position
			if(point_lcd_value == B2_position)
			{
				if(flag_D1_to_B2 == 1)
				{
					flag_D1_to_B2 = 0;
					lcd_show_form1_pattern_b();
				}
				//write C1_donvi
				Lcd_goto_C1_donvi;
				Lcd_write_int(C1_donvi);

				//delete con tro C1
				Lcd_gotoContro_C1;
				Lcd_write_string(" ");

				//dua con tro den B2
				Lcd_gotoContro_B2;
				Lcd_write_string(">");

				designator_position = 5;
			}
			//---------------------------------------------------B2_nghin_position
			if(point_lcd_value == B2_nghin_position)
			{
				//blink B2_nghin
				rotary_value = B2_nghin;
				while(point_lcd_value == B2_nghin_position)
				{
					Lcd_goto_B2_nghin;
					Blink_value();
				}
			}
			//---------------------------------------------------B2_tram_position
			if(point_lcd_value == B2_tram_position)
			{
				//write B2_nghin
				Lcd_goto_B2_nghin;
				Lcd_write_int(B2_nghin);

				//blink B2_tram
				rotary_value = B2_tram;
				while(point_lcd_value == B2_tram_position)
				{
					Lcd_goto_B2_tram;
					Blink_value();
				}
			}
			//---------------------------------------------------B2_chuc_position
			if(point_lcd_value == B2_chuc_position)
			{
				//write B2_tram
				Lcd_goto_B2_tram;
				Lcd_write_int(B2_tram);

				//blink B2_chuc
				rotary_value = B2_chuc;
				while(point_lcd_value == B2_chuc_position)
				{
					Lcd_goto_B2_chuc;
					Blink_value();
				}
			}
			//---------------------------------------------------B2_donvi_position
			if(point_lcd_value == B2_donvi_position)
			{
				flag_B2_to_D1_press = 1;

				//write B2_chuc
				Lcd_goto_B2_chuc;
				Lcd_write_int(B2_chuc);

				//blink B2_donvi
				rotary_value = B2_donvi;
				while(point_lcd_value == B2_donvi_position)
				{
					Lcd_goto_B2_donvi;
					Blink_value();
				}
			}
			//---------------------------------------------------D1_position
			if(point_lcd_value == D1_position)
			{
				if(flag_B2_to_D1 == 1||flag_B2_to_D1_press == 1)
				{
					flag_B2_to_D1 = 0;
					flag_B2_to_D1_press = 0;
					lcd_show_form2_pattern_b();
				}

				//delete con tro E
				Lcd_gotoContro_E;
				Lcd_write_string(" ");

				//dua con tro den D1
				Lcd_gotoContro_D1;
				Lcd_write_string(">");

				designator_position = 6;
			}
			//---------------------------------------------------D1_nghin_position
			if(point_lcd_value == D1_nghin_position)
			{
				//blink D1_nghin
				rotary_value = D1_nghin;
				while(point_lcd_value == D1_nghin_position)
				{
					Lcd_goto_D1_nghin;
					Blink_value();
				}
			}
			//---------------------------------------------------D1_tram_position
			if(point_lcd_value == D1_tram_position)
			{
				//write D1_nghin
				Lcd_goto_D1_nghin;
				Lcd_write_int(D1_nghin);

				//blink D1_tram
				rotary_value = D1_tram;
				while(point_lcd_value == D1_tram_position)
				{
					Lcd_goto_D1_tram;
					Blink_value();
				}
			}
			//---------------------------------------------------D1_chuc_position
			if(point_lcd_value == D1_chuc_position)
			{
				//write D1_tram
				Lcd_goto_D1_tram;
				Lcd_write_int(D1_tram);

				//blink B2_chuc
				rotary_value = D1_chuc;
				while(point_lcd_value == D1_chuc_position)
				{
					Lcd_goto_D1_chuc;
					Blink_value();
				}
			}
			//---------------------------------------------------D1_donvi_position
			if(point_lcd_value == D1_donvi_position)
			{
				//write D1_chuc
				Lcd_goto_D1_chuc;
				Lcd_write_int(D1_chuc);

				//blink D1_donvi
				rotary_value = D1_donvi;
				while(point_lcd_value == D1_donvi_position)
				{
					Lcd_goto_D1_donvi;
					Blink_value();
				}
			}
			//---------------------------------------------------E_position
			if(point_lcd_value == E_position)
			{
				//write D1_donvi
				Lcd_goto_D1_donvi;
				Lcd_write_int(D1_donvi);

				//delete con tro D1
				Lcd_gotoContro_D1;
				Lcd_write_string(" ");

				//delete con tro D2
				Lcd_gotoContro_D2;
				Lcd_write_string(" ");

				//dua con tro den E
				Lcd_gotoContro_E;
				Lcd_write_string(">");

				designator_position = 7;
			}
			//---------------------------------------------------E_chucnghin_position
			if(point_lcd_value == E_chucnghin_position)
			{
				//blink E_chucnghin
				rotary_value = E_chucnghin;
				while(point_lcd_value == E_chucnghin_position)
				{
					Lcd_goto_E_chucnghin;
					Blink_value();
				}
			}
			//---------------------------------------------------E_nghin_position
			if(point_lcd_value == E_nghin_position)
			{
				//write E_chucnghin
				Lcd_goto_E_chucnghin;
				Lcd_write_int(E_chucnghin);

				//blink E_nghin
				rotary_value = E_nghin;
				while(point_lcd_value == E_nghin_position)
				{
					Lcd_goto_E_nghin;
					Blink_value();
				}
			}
			//---------------------------------------------------E_tram_position
			if(point_lcd_value == E_tram_position)
			{
				//write E_nghin
				Lcd_goto_E_nghin;
				Lcd_write_int(E_nghin);

				//blink E_tram
				rotary_value = E_tram;
				while(point_lcd_value == E_tram_position)
				{
					Lcd_goto_E_tram;
					Blink_value();
				}
			}
			//---------------------------------------------------E_chuc_position
			if(point_lcd_value == E_chuc_position)
			{
				//write E_tram
				Lcd_goto_E_tram;
				Lcd_write_int(E_tram);

				//blink E_chuc
				rotary_value = E_chuc;
				while(point_lcd_value == E_chuc_position)
				{
					Lcd_goto_E_chuc;
					Blink_value();
				}
			}
			//---------------------------------------------------E_donvi_position
			if(point_lcd_value == E_donvi_position)
			{
				//write E_chuc
				Lcd_goto_E_chuc;
				Lcd_write_int(E_chuc);

				//blink E_donvi
				rotary_value = E_donvi;
				while(point_lcd_value == E_donvi_position)
				{
					Lcd_goto_E_donvi;
					Blink_value();
				}

			}
			//---------------------------------------------------D2_position
			if(point_lcd_value == D2_position)
			{
				//write E_donvi
				Lcd_goto_E_donvi;
				Lcd_write_int(E_donvi);

				//delete con tro E
				Lcd_gotoContro_E;
				Lcd_write_string(" ");

				//delete con tro C2
				Lcd_gotoContro_C2;
				Lcd_write_string(" ");

				//dua con tro den D2
				Lcd_gotoContro_D2;
				Lcd_write_string(">");

				designator_position = 8;
			}
			//---------------------------------------------------D2_nghin_position
			if(point_lcd_value == D2_nghin_position)
			{
				//blink D2_nghin
				rotary_value = D2_nghin;
				while(point_lcd_value == D2_nghin_position)
				{
					Lcd_goto_D2_nghin;
					Blink_value();
				}
			}
			//---------------------------------------------------D2_tram_position
			if(point_lcd_value == D2_tram_position)
			{
				//write D2_nghin
				Lcd_goto_D2_nghin;
				Lcd_write_int(D2_nghin);

				//blink D2_tram
				rotary_value = D2_tram;
				while(point_lcd_value == D2_tram_position)
				{
					Lcd_goto_D2_tram;
					Blink_value();
				}
			}
			//---------------------------------------------------D2_chuc_position
			if(point_lcd_value == D2_chuc_position)
			{
				//write D2_tram
				Lcd_goto_D2_tram;
				Lcd_write_int(D2_tram);

				//blink D2_chuc
				rotary_value = D2_chuc;
				while(point_lcd_value == D2_chuc_position)
				{
					Lcd_goto_D2_chuc;
					Blink_value();
				}
			}
			//---------------------------------------------------D2_donvi_position
			if(point_lcd_value == D2_donvi_position)
			{
				//write D2_chuc
				Lcd_goto_D2_chuc;
				Lcd_write_int(D2_chuc);

				//blink D2_donvi
				rotary_value = D2_donvi;
				while(point_lcd_value == D2_donvi_position)
				{
					Lcd_goto_D2_donvi;
					Blink_value();
				}
			}
			//---------------------------------------------------C2_position
			if(point_lcd_value == C2_position)
			{
				if(flag_n1_to_C2 == 1)
				{
					flag_n1_to_C2 = 0;
					lcd_show_form2_pattern_b();
				}
				//write D2_donvi
				Lcd_goto_D2_donvi;
				Lcd_write_int(D2_donvi);

				//delete con tro D2
				Lcd_gotoContro_D2;
				Lcd_write_string(" ");

				//dua con tro den C2
				Lcd_gotoContro_C2;
				Lcd_write_string(">");

				designator_position = 9;
			}
			//---------------------------------------------------C2_nghin_position
			if(point_lcd_value == C2_nghin_position)
			{
				//blink C2_nghin
				rotary_value = C2_nghin;
				while(point_lcd_value == C2_nghin_position)
				{
					Lcd_goto_C2_nghin;
					Blink_value();
				}
			}
			//---------------------------------------------------C2_tram_position
			if(point_lcd_value == C2_tram_position)
			{
				//write C2_nghin
				Lcd_goto_C2_nghin;
				Lcd_write_int(C2_nghin);

				//blink C2_tram
				rotary_value = C2_tram;
				while(point_lcd_value == C2_tram_position)
				{
					Lcd_goto_C2_tram;
					Blink_value();
				}
			}
			//---------------------------------------------------C2_chuc_position
			if(point_lcd_value == C2_chuc_position)
			{
				//write C2_tram
				Lcd_goto_C2_tram;
				Lcd_write_int(C2_tram);

				//blink C2_chuc
				rotary_value = C2_chuc;
				while(point_lcd_value == C2_chuc_position)
				{
					Lcd_goto_C2_chuc;
					Blink_value();
				}
			}
			//---------------------------------------------------C2_donvi_position
			if(point_lcd_value == C2_donvi_position)
			{
				flag_C2_to_n1_press = 1;

				//write C2_chuc
				Lcd_goto_C2_chuc;
				Lcd_write_int(C2_chuc);

				//blink C2_donvi
				rotary_value = C2_donvi;
				while(point_lcd_value == C2_donvi_position)
				{
					Lcd_goto_C2_donvi;
					Blink_value();
				}
			}
		}
		//-----------------------------------------------------------------------------------------send data
		// nhan send_data
		if(can_tx_int == 1)
		{
			can_tx_int = 0;
			if(flag_choose_mode == pattern_a)
			{
				// Tinh cac parameter
				n1_pa = 10 * n1_chuc_pa + n1_donvi_pa;
				n2_pa = 10 * n2_chuc_pa + n2_donvi_pa;
				B  = 1000 * B_nghin + 100 * B_tram + 10 * B_chuc + B_donvi;
				C  = 1000 * C_nghin + 100 * C_tram + 10 * C_chuc + C_donvi;
				D  = 1000 * D_nghin + 100 * D_tram + 10 * D_chuc + D_donvi;

				// Tach cac parameter thanh nhieu byte
				B_H = B >> 8;
				B_L = B;
				C_H = C >> 8;
				C_L = C;
				D_H = D >> 8;
				D_L = D;

				//send cac byte
				CanTx.StdId = 0x101;
				CanTx.DLC = 8;
				CanTx.Data[0] = n1_pa;
				CanTx.Data[1] = n2_pa;
				CanTx.Data[2] = B_H;
				CanTx.Data[3] = B_L;
				CanTx.Data[4] = C_H;
				CanTx.Data[5] = C_L;
				CanTx.Data[6] = D_H;
				CanTx.Data[7] = D_L;
				HAL_CAN_Transmit(&hcan, 10);
				HAL_Delay(10);

				Lcd_goto(1,1);
				Lcd_write_string("                    ");
				Lcd_goto(1,1);
				Lcd_write_string("     Data Sent      ");
				HAL_Delay(200);
				Lcd_goto(1,1);
				Lcd_write_string("                    ");
				HAL_Delay(200);
				Lcd_goto(1,1);
				Lcd_write_string("     Data Sent      ");
				HAL_Delay(200);
				Lcd_goto(1,1);
				Lcd_write_string("                    ");
				HAL_Delay(200);
				Lcd_goto(1,1);
				Lcd_write_string("---CONTROLLER BOX---");

			}
			if(flag_choose_mode == pattern_b)
			{
				// Tinh cac parameter
				n1_pb = 10 * n1_chuc_pb + n1_donvi_pb;
				n2_pb = 10 * n2_chuc_pb + n2_donvi_pb;
				B1 = 1000 * B1_nghin + 100 * B1_tram + 10 * B1_chuc + B1_donvi;
				C1 = 1000 * C1_nghin + 100 * C1_tram + 10 * C1_chuc + C1_donvi;
				B2 = 1000 * B2_nghin + 100 * B2_tram + 10 * B2_chuc + B2_donvi;
				D1 = 1000 * D1_nghin + 100 * D1_tram + 10 * D1_chuc + D1_donvi;
				E  = 10000 * E_chucnghin + 1000 * E_nghin + 100 * E_tram + 10 * E_chuc + E_donvi;
				D2 = 1000 * D2_nghin + 100 * D2_tram + 10 * D2_chuc + D2_donvi;
				C2 = 1000 * C2_nghin + 100 * C2_tram + 10 * C2_chuc + C2_donvi;

				// Tach cac parameter thanh nhieu byte
				B1_H = B1 >> 8;
				B1_L = B1;
				C1_H = C1 >> 8;
				C1_L = C1;
				B2_H = B2 >> 8;
				B2_L = B2;
				D1_H = D1 >> 8;
				D1_L = D1;
				E_HH = E >> 16;
				E_H = E >> 8;
				E_L = E;
				D2_H = D2 >> 8;
				D2_L = D2;
				C2_H = C2 >> 8;
				C2_L = C2;

				//neu sai dieu kien
				if((D1+E >= B1 || D2+C2 >= B2) && (n1_pb!=0 || n2_pb!=0))
				{
					Lcd_goto(1,1);
					Lcd_write_string("                    ");
					Lcd_goto(1,1);
					Lcd_write_string("   Wrong Condition  ");
					HAL_Delay(200);
					Lcd_goto(1,1);
					Lcd_write_string("                    ");
					HAL_Delay(200);
					Lcd_goto(1,1);
					Lcd_write_string("   Wrong Condition  ");
					HAL_Delay(200);
					Lcd_goto(1,1);
					Lcd_write_string("                    ");
					HAL_Delay(200);
					Lcd_goto(1,1);
					Lcd_write_string("---CONTROLLER BOX---");
				}
				else
				{
					//send package 2:8bytes
					CanTx.StdId = 0x102;
					CanTx.DLC = 8;
					CanTx.Data[0] = n1_pb;
					CanTx.Data[1] = n2_pb;
					CanTx.Data[2] = B1_H;
					CanTx.Data[3] = B1_L;
					CanTx.Data[4] = C1_H;
					CanTx.Data[5] = C1_L;
					CanTx.Data[6] = B2_H;
					CanTx.Data[7] = B2_L;
					HAL_CAN_Transmit(&hcan, 10);
					HAL_Delay(10);

					//send package 3:5bytes
					CanTx.StdId = 0x103;
					CanTx.DLC = 5;
					CanTx.Data[0] = D1_H;
					CanTx.Data[1] = D1_L;
					CanTx.Data[2] = E_HH;
					CanTx.Data[3] = E_H;
					CanTx.Data[4] = E_L;
					HAL_CAN_Transmit(&hcan,10);
					HAL_Delay(10);

					//send package 4:4bytes
					CanTx.StdId = 0x104;
					CanTx.DLC = 4;
					CanTx.Data[0] = D2_H;
					CanTx.Data[1] = D2_L;
					CanTx.Data[2] = C2_H;
					CanTx.Data[3] = C2_L;
					HAL_CAN_Transmit(&hcan, 10);

					Lcd_goto(1,1);
					Lcd_write_string("                    ");
					Lcd_goto(1,1);
					Lcd_write_string("     Data Sent      ");
					HAL_Delay(200);
					Lcd_goto(1,1);
					Lcd_write_string("                    ");
					HAL_Delay(200);
					Lcd_goto(1,1);
					Lcd_write_string("     Data Sent      ");
					HAL_Delay(200);
					Lcd_goto(1,1);
					Lcd_write_string("                    ");
					HAL_Delay(200);
					Lcd_goto(1,1);
					Lcd_write_string("---CONTROLLER BOX---");
				}
			}
		}

		//-----------------------------------------------------------------------------------------request data
		//Nhan nut get data
		//Gui sang ben nhan pattern, ben nhan xac dinh pattern nao thi gui lai, doc tu EEPROM
		if(flag_get_data == 1)
		{
			static uint8_t start_get_mode = 0;
			if(start_get_mode == 0)
			{
				start_get_mode = 1;
				flag_choose_mode = (patternTypeDef)HAL_GPIO_ReadPin(choose_mode_GPIO_Port,choose_mode_Pin);
			}
			flag_get_data = 0;
			CanTx.StdId = 0x10A;
			CanTx.DLC = 1;
			CanTx.Data[0] = flag_choose_mode;
			HAL_CAN_Transmit(&hcan,10);
		}

		//-----------------------------------------------------------------------------------------ben nhan gui lai parameter cua a
		if(can_rx_int1 == 1)
		{
			can_rx_int1 = 0;

			B = (B_H << 8) | B_L;
      C = (C_H << 8) | C_L;
      D = (D_H << 8) | D_L;

			n1_chuc_pa = n1_pa/10;
			n1_donvi_pa = n1_pa%10;
			n2_chuc_pa = n2_pa/10;
			n2_donvi_pa = n2_pa%10;

			B_nghin = B/1000;
			B_tram = (B%1000)/100;
			B_chuc = (B%100)/10;
			B_donvi = B%10;

			C_nghin = C/1000;
			C_tram = (C%1000)/100;
			C_chuc = (C%100)/10;
			C_donvi = C%10;

			D_nghin = D/1000;
			D_tram = (D%1000)/100;
			D_chuc = (D%100)/10;
			D_donvi = D%10;

			enable_send();
			lcd_show_pattern_a();

			Lcd_goto(1,1);
			Lcd_write_string("                    ");
			Lcd_goto(1,1);
			Lcd_write_string("   Data Recalled    ");
			HAL_Delay(200);
			Lcd_goto(1,1);
			Lcd_write_string("                    ");
			HAL_Delay(200);
			Lcd_goto(1,1);
			Lcd_write_string("   Data Recalled    ");
			HAL_Delay(200);
			Lcd_goto(1,1);
			Lcd_write_string("                    ");
			HAL_Delay(200);
			Lcd_goto(1,1);
			Lcd_write_string("---CONTROLLER BOX---");

			point_lcd_value = n1_position;
		}
		//-----------------------------------------------------------------------------------------ben nhan gui lai parameter cua b
		if(can_rx_int2 == 1 && can_rx_int3 == 1 && can_rx_int4 == 1)
		{
			can_rx_int2 = 0;
			can_rx_int3 = 0;
			can_rx_int4 = 0;

      B1 = (B1_H << 8) | B1_L;
      C1 = (C1_H << 8) | C1_L;
      B2 = (B2_H << 8) | B2_L;

      D1 = (D1_H << 8) | D1_L;
      E = (E_HH << 16) | (E_H << 8) | E_L;

      D2 = (D2_H << 8) | D2_L;
      C2 = (C2_H << 8) | C2_L;

			n1_chuc_pb = n1_pb/10;
			n1_donvi_pb = n1_pb%10;
			n2_chuc_pb = n2_pb/10;
			n2_donvi_pb = n2_pb%10;

			B1_nghin = B1/1000;
			B1_tram = (B1%1000)/100;
			B1_chuc = (B1%100)/10;
			B1_donvi = B1%10;

			C1_nghin = C1/1000;
			C1_tram = (C1%1000)/100;
			C1_chuc = (C1%100)/10;
			C1_donvi = C1%10;

			B2_nghin = B2/1000;
			B2_tram = (B2%1000)/100;
			B2_chuc = (B2%100)/10;
			B2_donvi = B2%10;

			D1_nghin = D1/1000;
			D1_tram = (D1%1000)/100;
			D1_chuc = (D1%100)/10;
			D1_donvi = D1%10;

			E_chucnghin = E/10000;
			E_nghin = (E%10000)/1000;
			E_tram = (E%1000)/100;
			E_chuc = (E%100)/10;
			E_donvi = E%10;

			D2_nghin = D2/1000;
			D2_tram = (D2%1000)/100;
			D2_chuc = (D2%100)/10;
			D2_donvi = D2%10;

			C2_nghin = C2/1000;
			C2_tram = (C2%1000)/100;
			C2_chuc = (C2%100)/10;
			C2_donvi = C2%10;

			enable_send();
			lcd_show_form1_pattern_b();

			Lcd_goto(1,1);
			Lcd_write_string("                    ");
			Lcd_goto(1,1);
			Lcd_write_string("   Data Recalled    ");
			HAL_Delay(200);
			Lcd_goto(1,1);
			Lcd_write_string("                    ");
			HAL_Delay(200);
			Lcd_goto(1,1);
			Lcd_write_string("   Data Recalled    ");
			HAL_Delay(200);
			Lcd_goto(1,1);
			Lcd_write_string("                    ");
			HAL_Delay(200);
			Lcd_goto(1,1);
			Lcd_write_string("---CONTROLLER BOX---");

			point_lcd_value = n1_position;
		}

  /* USER CODE END WHILE */

  }

}

void SystemClock_Config(void)
{

  RCC_OscInitTypeDef RCC_OscInitStruct;
  RCC_ClkInitTypeDef RCC_ClkInitStruct;

    /**Initializes the CPU, AHB and APB busses clocks
    */
  RCC_OscInitStruct.OscillatorType = RCC_OSCILLATORTYPE_HSE;
  RCC_OscInitStruct.HSEState = RCC_HSE_ON;
  RCC_OscInitStruct.HSEPredivValue = RCC_HSE_PREDIV_DIV1;
  RCC_OscInitStruct.HSIState = RCC_HSI_ON;
  RCC_OscInitStruct.PLL.PLLState = RCC_PLL_ON;
  RCC_OscInitStruct.PLL.PLLSource = RCC_PLLSOURCE_HSE;
  RCC_OscInitStruct.PLL.PLLMUL = RCC_PLL_MUL9;
  if (HAL_RCC_OscConfig(&RCC_OscInitStruct) != HAL_OK)
  {
    _Error_Handler(__FILE__, __LINE__);
  }

    /**Initializes the CPU, AHB and APB busses clocks
    */
  RCC_ClkInitStruct.ClockType = RCC_CLOCKTYPE_HCLK|RCC_CLOCKTYPE_SYSCLK
                              |RCC_CLOCKTYPE_PCLK1|RCC_CLOCKTYPE_PCLK2;
  RCC_ClkInitStruct.SYSCLKSource = RCC_SYSCLKSOURCE_PLLCLK;
  RCC_ClkInitStruct.AHBCLKDivider = RCC_SYSCLK_DIV1;
  RCC_ClkInitStruct.APB1CLKDivider = RCC_HCLK_DIV2;
  RCC_ClkInitStruct.APB2CLKDivider = RCC_HCLK_DIV1;

  if (HAL_RCC_ClockConfig(&RCC_ClkInitStruct, FLASH_LATENCY_2) != HAL_OK)
  {
    _Error_Handler(__FILE__, __LINE__);
  }

    /**Configure the Systick interrupt time
    */
  HAL_SYSTICK_Config(HAL_RCC_GetHCLKFreq()/1000);

    /**Configure the Systick
    */
  HAL_SYSTICK_CLKSourceConfig(SYSTICK_CLKSOURCE_HCLK);

  /* SysTick_IRQn interrupt configuration */
  HAL_NVIC_SetPriority(SysTick_IRQn, 0, 0);
}

/* CAN init function */
static void MX_CAN_Init(void)
{

  hcan.Instance = CAN;
  hcan.Init.Prescaler = 400;
  hcan.Init.Mode = CAN_MODE_NORMAL;
  hcan.Init.SJW = CAN_SJW_1TQ;
  hcan.Init.BS1 = CAN_BS1_12TQ;
  hcan.Init.BS2 = CAN_BS2_5TQ;
  hcan.Init.TTCM = DISABLE;
  hcan.Init.ABOM = DISABLE;
  hcan.Init.AWUM = DISABLE;
  hcan.Init.NART = DISABLE;
  hcan.Init.RFLM = DISABLE;
  hcan.Init.TXFP = DISABLE;
  if (HAL_CAN_Init(&hcan) != HAL_OK)
  {
    _Error_Handler(__FILE__, __LINE__);
  }

}

/* TIM2 init function */
static void MX_TIM2_Init(void)
{

  TIM_ClockConfigTypeDef sClockSourceConfig;
  TIM_MasterConfigTypeDef sMasterConfig;

  htim2.Instance = TIM2;
  htim2.Init.Prescaler = 7199;
  htim2.Init.CounterMode = TIM_COUNTERMODE_UP;
  htim2.Init.Period = 2999;
  htim2.Init.ClockDivision = TIM_CLOCKDIVISION_DIV1;
  htim2.Init.AutoReloadPreload = TIM_AUTORELOAD_PRELOAD_DISABLE;
  if (HAL_TIM_Base_Init(&htim2) != HAL_OK)
  {
    _Error_Handler(__FILE__, __LINE__);
  }

  sClockSourceConfig.ClockSource = TIM_CLOCKSOURCE_INTERNAL;
  if (HAL_TIM_ConfigClockSource(&htim2, &sClockSourceConfig) != HAL_OK)
  {
    _Error_Handler(__FILE__, __LINE__);
  }

  sMasterConfig.MasterOutputTrigger = TIM_TRGO_RESET;
  sMasterConfig.MasterSlaveMode = TIM_MASTERSLAVEMODE_DISABLE;
  if (HAL_TIMEx_MasterConfigSynchronization(&htim2, &sMasterConfig) != HAL_OK)
  {
    _Error_Handler(__FILE__, __LINE__);
  }

}

/** Configure pins as
        * Analog
        * Input
        * Output
        * EVENT_OUT
        * EXTI
*/
static void MX_GPIO_Init(void)
{

  GPIO_InitTypeDef GPIO_InitStruct;

  /* GPIO Ports Clock Enable */
  __HAL_RCC_GPIOF_CLK_ENABLE();
  __HAL_RCC_GPIOC_CLK_ENABLE();
  __HAL_RCC_GPIOA_CLK_ENABLE();
  __HAL_RCC_GPIOB_CLK_ENABLE();

  /*Configure GPIO pin Output Level */
  HAL_GPIO_WritePin(GPIOA, D7_Pin|D6_Pin|D5_Pin, GPIO_PIN_RESET);

  /*Configure GPIO pin Output Level */
  HAL_GPIO_WritePin(GPIOC, D4_Pin|EN_Pin, GPIO_PIN_RESET);

  /*Configure GPIO pin Output Level */
  HAL_GPIO_WritePin(GPIOB, RW_Pin|RS_Pin, GPIO_PIN_RESET);

  /*Configure GPIO pin Output Level */
  HAL_GPIO_WritePin(GPIOB, led1_Pin|led2_Pin, GPIO_PIN_SET);

  /*Configure GPIO pins : send_data_Pin get_data_Pin */
  GPIO_InitStruct.Pin = send_data_Pin|get_data_Pin;
  GPIO_InitStruct.Mode = GPIO_MODE_IT_FALLING;
  GPIO_InitStruct.Pull = GPIO_NOPULL;
  HAL_GPIO_Init(GPIOC, &GPIO_InitStruct);

  /*Configure GPIO pin : channel_b_Pin */
  GPIO_InitStruct.Pin = channel_b_Pin;
  GPIO_InitStruct.Mode = GPIO_MODE_INPUT;
  GPIO_InitStruct.Pull = GPIO_NOPULL;
  HAL_GPIO_Init(channel_b_GPIO_Port, &GPIO_InitStruct);

  /*Configure GPIO pin : channel_a_Pin */
  GPIO_InitStruct.Pin = channel_a_Pin;
  GPIO_InitStruct.Mode = GPIO_MODE_IT_FALLING;
  GPIO_InitStruct.Pull = GPIO_NOPULL;
  HAL_GPIO_Init(channel_a_GPIO_Port, &GPIO_InitStruct);

  /*Configure GPIO pin : press_encoder_Pin */
  GPIO_InitStruct.Pin = press_encoder_Pin;
  GPIO_InitStruct.Mode = GPIO_MODE_IT_RISING;
  GPIO_InitStruct.Pull = GPIO_PULLDOWN;
  HAL_GPIO_Init(press_encoder_GPIO_Port, &GPIO_InitStruct);

  /*Configure GPIO pins : D7_Pin D6_Pin D5_Pin */
  GPIO_InitStruct.Pin = D7_Pin|D6_Pin|D5_Pin;
  GPIO_InitStruct.Mode = GPIO_MODE_OUTPUT_PP;
  GPIO_InitStruct.Pull = GPIO_NOPULL;
  GPIO_InitStruct.Speed = GPIO_SPEED_FREQ_LOW;
  HAL_GPIO_Init(GPIOA, &GPIO_InitStruct);

  /*Configure GPIO pins : D4_Pin EN_Pin */
  GPIO_InitStruct.Pin = D4_Pin|EN_Pin;
  GPIO_InitStruct.Mode = GPIO_MODE_OUTPUT_PP;
  GPIO_InitStruct.Pull = GPIO_NOPULL;
  GPIO_InitStruct.Speed = GPIO_SPEED_FREQ_LOW;
  HAL_GPIO_Init(GPIOC, &GPIO_InitStruct);

  /*Configure GPIO pins : RW_Pin RS_Pin led1_Pin led2_Pin */
  GPIO_InitStruct.Pin = RW_Pin|RS_Pin|led1_Pin|led2_Pin;
  GPIO_InitStruct.Mode = GPIO_MODE_OUTPUT_PP;
  GPIO_InitStruct.Pull = GPIO_NOPULL;
  GPIO_InitStruct.Speed = GPIO_SPEED_FREQ_LOW;
  HAL_GPIO_Init(GPIOB, &GPIO_InitStruct);

  /*Configure GPIO pin : PC9 */
  GPIO_InitStruct.Pin = GPIO_PIN_9;
  GPIO_InitStruct.Mode = GPIO_MODE_INPUT;
  GPIO_InitStruct.Pull = GPIO_PULLUP;
  HAL_GPIO_Init(GPIOC, &GPIO_InitStruct);

  /*Configure GPIO pin : PA8 */
  GPIO_InitStruct.Pin = GPIO_PIN_8;
  GPIO_InitStruct.Mode = GPIO_MODE_INPUT;
  GPIO_InitStruct.Pull = GPIO_PULLUP;
  HAL_GPIO_Init(GPIOA, &GPIO_InitStruct);

  /*Configure GPIO pin : choose_mode_Pin */
  GPIO_InitStruct.Pin = choose_mode_Pin;
  GPIO_InitStruct.Mode = GPIO_MODE_INPUT;
  GPIO_InitStruct.Pull = GPIO_NOPULL;
  HAL_GPIO_Init(choose_mode_GPIO_Port, &GPIO_InitStruct);

  /* EXTI interrupt init*/
  HAL_NVIC_SetPriority(EXTI0_IRQn, 0, 0);
  HAL_NVIC_EnableIRQ(EXTI0_IRQn);

  HAL_NVIC_SetPriority(EXTI1_IRQn, 0, 0);
  HAL_NVIC_EnableIRQ(EXTI1_IRQn);

  HAL_NVIC_SetPriority(EXTI2_TSC_IRQn, 0, 0);
  HAL_NVIC_EnableIRQ(EXTI2_TSC_IRQn);

  HAL_NVIC_SetPriority(EXTI4_IRQn, 0, 0);
  HAL_NVIC_EnableIRQ(EXTI4_IRQn);

}

/* USER CODE BEGIN 4 */

//-----------------------------------------------------------------------------------------------Timer
void HAL_TIM_PeriodElapsedCallback(TIM_HandleTypeDef *htim)
{
  if (htim->Instance == htim2.Instance)
  {
      timer_int = !timer_int;
  }
}

/* USER CODE END 4 */

void _Error_Handler(char *file, int line)
{
  while (1)
  {
  }
}

/************************ (C) COPYRIGHT STMicroelectronics *****END OF FILE****/
